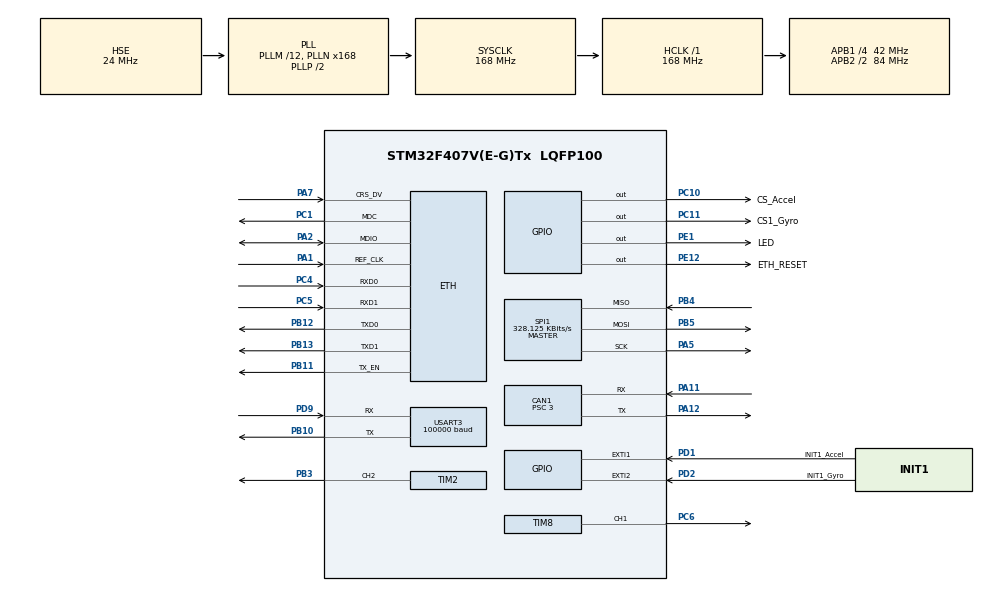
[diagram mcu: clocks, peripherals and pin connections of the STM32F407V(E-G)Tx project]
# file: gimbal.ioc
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CAN1.BS1=CAN_BS1_10TQ
CAN1.BS2=CAN_BS2_3TQ
CAN1.CalculateBaudRate=1000000
CAN1.CalculateTimeBit=1000
CAN1.CalculateTimeQuantum=71.42857142857143
CAN1.Prescaler=3
Dma.Request0=SPI1_RX
Dma.Request1=SPI1_TX
Dma.Request2=USART3_RX
Dma.SPI1_RX.0.Direction=DMA_PERIPH_TO_MEMORY
Dma.SPI1_RX.0.FIFOMode=DMA_FIFOMODE_DISABLE
Dma.SPI1_RX.0.Instance=DMA2_Stream0
Dma.SPI1_RX.0.MemDataAlignment=DMA_MDATAALIGN_BYTE
Dma.SPI1_RX.0.MemInc=DMA_MINC_ENABLE
Dma.SPI1_RX.0.Mode=DMA_NORMAL
Dma.SPI1_RX.0.PeriphDataAlignment=DMA_PDATAALIGN_BYTE
Dma.SPI1_RX.0.PeriphInc=DMA_PINC_DISABLE
Dma.SPI1_RX.0.Priority=DMA_PRIORITY_VERY_HIGH
Dma.SPI1_TX.1.Direction=DMA_MEMORY_TO_PERIPH
Dma.SPI1_TX.1.FIFOMode=DMA_FIFOMODE_DISABLE
Dma.SPI1_TX.1.Instance=DMA2_Stream3
Dma.SPI1_TX.1.MemDataAlignment=DMA_MDATAALIGN_BYTE
Dma.SPI1_TX.1.MemInc=DMA_MINC_ENABLE
Dma.SPI1_TX.1.Mode=DMA_NORMAL
Dma.SPI1_TX.1.PeriphDataAlignment=DMA_PDATAALIGN_BYTE
Dma.SPI1_TX.1.PeriphInc=DMA_PINC_DISABLE
Dma.SPI1_TX.1.Priority=DMA_PRIORITY_HIGH
Dma.USART3_RX.2.Direction=DMA_PERIPH_TO_MEMORY
Dma.USART3_RX.2.FIFOMode=DMA_FIFOMODE_DISABLE
Dma.USART3_RX.2.Instance=DMA1_Stream1
Dma.USART3_RX.2.MemDataAlignment=DMA_MDATAALIGN_BYTE
Dma.USART3_RX.2.MemInc=DMA_MINC_ENABLE
Dma.USART3_RX.2.Mode=DMA_NORMAL
Dma.USART3_RX.2.PeriphDataAlignment=DMA_PDATAALIGN_BYTE
Dma.USART3_RX.2.PeriphInc=DMA_PINC_DISABLE
Dma.USART3_RX.2.Priority=DMA_PRIORITY_HIGH
ETH.MediaInterface=ETH_MEDIA_INTERFACE_RMII
ETH.RxMode=ETH_RXINTERRUPT_MODE
FREERTOS.INCLUDE_uxTaskGetStackHighWaterMark=1
FREERTOS.INCLUDE_vTaskDelayUntil=1
FREERTOS.Tasks01=defaultTask,0,128,StartDefaultTask,As weak,NULL,Dynamic,NULL,NULL
FREERTOS.configENABLE_FPU=1
FREERTOS.configTOTAL_HEAP_SIZE=30720
FREERTOS.configUSE_NEWLIB_REENTRANT=1
LWIP.GATEWAY_ADDRESS=192.168.001.001
LWIP.IP_ADDRESS=192.168.001.010
LWIP.LWIP_DHCP=0
LWIP.NETMASK_ADDRESS=255.255.255.000
LWIP.Version=v2.1.2_Cube
Mcu.Family=STM32F4
Mcu.Name=STM32F407V(E-G)Tx
Mcu.Package=LQFP100
NVIC.CAN1_RX0_IRQn=true\:5\:0\:false\:false\:true\:true\:true\:true\:true
NVIC.DMA1_Stream1_IRQn=true\:5\:0\:false\:false\:true\:true\:false\:true\:true
NVIC.DMA2_Stream0_IRQn=true\:5\:0\:false\:false\:true\:true\:false\:true\:true
NVIC.DMA2_Stream3_IRQn=true\:5\:0\:false\:false\:true\:true\:false\:true\:true
NVIC.ETH_IRQn=true\:5\:0\:false\:false\:true\:true\:false\:true\:true
NVIC.PriorityGroup=NVIC_PRIORITYGROUP_4
NVIC.TIM1_UP_TIM10_IRQn=true\:0\:0\:false\:false\:true\:false\:false\:true\:true
NVIC.TIM2_IRQn=true\:5\:0\:false\:false\:true\:true\:true\:true\:true
NVIC.TIM3_IRQn=true\:5\:0\:false\:false\:true\:true\:true\:true\:true
NVIC.TimeBase=TIM1_UP_TIM10_IRQn
NVIC.TimeBaseIP=TIM1
NVIC.USART3_IRQn=true\:5\:0\:false\:false\:true\:true\:true\:true\:true
PA1.Mode=RMII
PA1.Signal=ETH_REF_CLK
PA11.Mode=CAN_Activate
PA11.Signal=CAN1_RX
PA12.Mode=CAN_Activate
PA12.Signal=CAN1_TX
PA13.Mode=Serial_Wire
PA13.Signal=SYS_JTMS-SWDIO
PA14.Mode=Serial_Wire
PA14.Signal=SYS_JTCK-SWCLK
PA2.Mode=RMII
PA2.Signal=ETH_MDIO
PA5.Mode=Full_Duplex_Master
PA5.Signal=SPI1_SCK
PA7.Mode=RMII
PA7.Signal=ETH_CRS_DV
PB10.Mode=Asynchronous
PB10.Signal=USART3_TX
PB11.Mode=RMII
PB11.Signal=ETH_TX_EN
PB12.Mode=RMII
PB12.Signal=ETH_TXD0
PB13.Mode=RMII
PB13.Signal=ETH_TXD1
PB3.Signal=S_TIM2_CH2
PB4.Mode=Full_Duplex_Master
PB4.Signal=SPI1_MISO
PB5.Mode=Full_Duplex_Master
PB5.Signal=SPI1_MOSI
PC1.Mode=RMII
PC1.Signal=ETH_MDC
PC10.GPIO_Label=CS_Accel
PC10.GPIO_PuPd=GPIO_PULLUP
PC10.GPIO_Speed=GPIO_SPEED_FREQ_HIGH
PC10.PinState=GPIO_PIN_SET
PC10.Signal=GPIO_Output
PC11.GPIO_Label=CS1_Gyro
PC11.GPIO_PuPd=GPIO_PULLUP
PC11.GPIO_Speed=GPIO_SPEED_FREQ_HIGH
PC11.Signal=GPIO_Output
PC14-OSC32_IN.Mode=LSE-External-Oscillator
PC14-OSC32_IN.Signal=RCC_OSC32_IN
PC15-OSC32_OUT.Mode=LSE-External-Oscillator
PC15-OSC32_OUT.Signal=RCC_OSC32_OUT
PC4.Mode=RMII
PC4.Signal=ETH_RXD0
PC5.Mode=RMII
PC5.Signal=ETH_RXD1
PC6.Signal=S_TIM8_CH1
PD1.GPIO_Label=INIT1_Accel
PD1.GPIO_PuPd=GPIO_PULLUP
PD1.Signal=GPXTI1
PD2.GPIO_Label=INIT1_Gyro
PD2.GPIO_PuPd=GPIO_PULLUP
PD2.Signal=GPXTI2
PD9.Mode=Asynchronous
PD9.Signal=USART3_RX
PE1.GPIO_Label=LED
PE1.Signal=GPIO_Output
PE12.GPIO_Label=ETH_RESET
PE12.GPIO_Speed=GPIO_SPEED_FREQ_VERY_HIGH
PE12.Signal=GPIO_Output
PH0-OSC_IN.Mode=HSE-External-Oscillator
PH0-OSC_IN.Signal=RCC_OSC_IN
PH1-OSC_OUT.Mode=HSE-External-Oscillator
PH1-OSC_OUT.Signal=RCC_OSC_OUT
ProjectManager.HeapSize=0x7000
ProjectManager.StackSize=0x8000
ProjectManager.TargetToolchain=STM32CubeIDE
RCC.48MHZClocksFreq_Value=84000000
RCC.AHBFreq_Value=168000000
RCC.APB1CLKDivider=RCC_HCLK_DIV4
RCC.APB1Freq_Value=42000000
RCC.APB1TimFreq_Value=84000000
RCC.APB2CLKDivider=RCC_HCLK_DIV2
RCC.APB2Freq_Value=84000000
RCC.APB2TimFreq_Value=168000000
RCC.CortexFreq_Value=168000000
RCC.HCLKFreq_Value=168000000
RCC.HSE_VALUE=24000000
RCC.HSI_VALUE=16000000
RCC.PLLM=12
RCC.PLLN=168
RCC.PLLSourceVirtual=RCC_PLLSOURCE_HSE
RCC.SYSCLKFreq_VALUE=168000000
RCC.SYSCLKSource=RCC_SYSCLKSOURCE_PLLCLK
RCC.VCOOutputFreq_Value=336000000
SH.S_TIM2_CH2.0=TIM2_CH2,PWM Generation2 CH2
SH.S_TIM8_CH1.0=TIM8_CH1,PWM Generation1 CH1
SPI1.BaudRatePrescaler=SPI_BAUDRATEPRESCALER_256
SPI1.CLKPhase=SPI_PHASE_2EDGE
SPI1.CLKPolarity=SPI_POLARITY_HIGH
SPI1.CalculateBaudRate=328.125 KBits/s
SPI1.Direction=SPI_DIRECTION_2LINES
SPI1.Mode=SPI_MODE_MASTER
SPI1.VirtualType=VM_MASTER
TIM2.AutoReloadPreload=TIM_AUTORELOAD_PRELOAD_DISABLE
TIM2.Channel-PWM\ Generation2\ CH2=TIM_CHANNEL_2
TIM2.Period=2000-1
TIM2.Prescaler=84-1
TIM3.Period=16799
TIM8.Channel-PWM\ Generation1\ CH1=TIM_CHANNEL_1
TIM8.Period=2000-1
TIM8.Prescaler=84-1
USART3.BaudRate=100000
USART3.Parity=PARITY_EVEN
USART3.VirtualMode=VM_ASYNC
VP_FREERTOS_VS_CMSIS_V1.Mode=CMSIS_V1
VP_LWIP_VS_Enabled.Mode=Enabled
VP_SYS_VS_tim1.Mode=TIM1
VP_TIM2_VS_ClockSourceINT.Mode=Internal
VP_TIM3_VS_ClockSourceINT.Mode=Internal
VP_TIM8_VS_ClockSourceINT.Mode=Internal
board=custom

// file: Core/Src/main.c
/* USER CODE BEGIN Header */
/**
  ******************************************************************************
  * @file           : main.c
  * @brief          : Main program body
  ******************************************************************************
  * @attention
  *
  * <h2><center>&copy; Copyright (c) 2025 STMicroelectronics.
  * All rights reserved.</center></h2>
  *
  * This software component is licensed by ST under Ultimate Liberty license
  * SLA0044, the "License"; You may not use this file except in compliance with
  * the License. You may obtain a copy of the License at:
  *                             www.st.com/SLA0044
  *
  ******************************************************************************
  */
/* USER CODE END Header */
#include "main.h"
#include "cmsis_os.h"
#include "can.h"
#include "dma.h"
#include "lwip.h"
#include "spi.h"
#include "tim.h"
#include "usart.h"
#include "gpio.h"

/* USER CODE BEGIN Includes */
#include "stdio.h"
#include "rm_module.h"
#include "robot.h"
#include "hal_can.h"
//#include "udp_echoserver.h"
/* USER CODE END Includes */

void SystemClock_Config(void);
void MX_FREERTOS_Init(void);

int main(void)
{
  /* USER CODE BEGIN 1 */
    uint8_t err=0;
  /* USER CODE END 1 */

  /* MCU Configuration--------------------------------------------------------*/

  /* Reset of all peripherals, Initializes the Flash interface and the Systick. */
  HAL_Init();

  /* Configure the system clock */
  SystemClock_Config();

  /* Initialize all configured peripherals */
  MX_GPIO_Init();
  MX_DMA_Init();
  MX_CAN1_Init();
  MX_SPI1_Init();
  MX_TIM2_Init();
  MX_TIM3_Init();
  MX_TIM8_Init();
  MX_USART3_UART_Init();
  /* USER CODE BEGIN 2 */
    dwt_init(168);
    CAN_service_init();
    sbus_rc_init();
    err=BMI088_init(&hspi1);
    while (err==0xFF){
        MX_SPI1_Init();
        err=BMI088_init(&hspi1);
    }
    HAL_TIM_Base_Start_IT(&htim2);
    robot_init();
    HAL_TIM_Base_Start_IT(&htim3);
  /* USER CODE END 2 */

  /* Call init function for freertos objects (in freertos.c) */
  MX_FREERTOS_Init();
  /* Start scheduler */
  osKernelStart();

  /* We should never get here as control is now taken by the scheduler */
  /* Infinite loop */
  while (1)
  {

  }
}

void SystemClock_Config(void)
{
  RCC_OscInitTypeDef RCC_OscInitStruct = {0};
  RCC_ClkInitTypeDef RCC_ClkInitStruct = {0};

  /** Configure the main internal regulator output voltage
  */
  __HAL_RCC_PWR_CLK_ENABLE();
  __HAL_PWR_VOLTAGESCALING_CONFIG(PWR_REGULATOR_VOLTAGE_SCALE1);
  /** Initializes the RCC Oscillators according to the specified parameters
  * in the RCC_OscInitTypeDef structure.
  */
  RCC_OscInitStruct.OscillatorType = RCC_OSCILLATORTYPE_HSE;
  RCC_OscInitStruct.HSEState = RCC_HSE_ON;
  RCC_OscInitStruct.PLL.PLLState = RCC_PLL_ON;
  RCC_OscInitStruct.PLL.PLLSource = RCC_PLLSOURCE_HSE;
  RCC_OscInitStruct.PLL.PLLM = 12;
  RCC_OscInitStruct.PLL.PLLN = 168;
  RCC_OscInitStruct.PLL.PLLP = RCC_PLLP_DIV2;
  RCC_OscInitStruct.PLL.PLLQ = 4;
  if (HAL_RCC_OscConfig(&RCC_OscInitStruct) != HAL_OK)
  {
    Error_Handler();
  }
  /** Initializes the CPU, AHB and APB buses clocks
  */
  RCC_ClkInitStruct.ClockType = RCC_CLOCKTYPE_HCLK|RCC_CLOCKTYPE_SYSCLK
                              |RCC_CLOCKTYPE_PCLK1|RCC_CLOCKTYPE_PCLK2;
  RCC_ClkInitStruct.SYSCLKSource = RCC_SYSCLKSOURCE_PLLCLK;
  RCC_ClkInitStruct.AHBCLKDivider = RCC_SYSCLK_DIV1;
  RCC_ClkInitStruct.APB1CLKDivider = RCC_HCLK_DIV4;
  RCC_ClkInitStruct.APB2CLKDivider = RCC_HCLK_DIV2;

  if (HAL_RCC_ClockConfig(&RCC_ClkInitStruct, FLASH_LATENCY_5) != HAL_OK)
  {
    Error_Handler();
  }
}

 /**
  * @brief  Period elapsed callback in non blocking mode
  * @note   This function is called  when TIM1 interrupt took place, inside
  * HAL_TIM_IRQHandler(). It makes a direct call to HAL_IncTick() to increment
  * a global variable "uwTick" used as application time base.
  * @param  htim : TIM handle
  * @retval None
  */
void HAL_TIM_PeriodElapsedCallback(TIM_HandleTypeDef *htim)
{
  if (htim->Instance == TIM1) {
    HAL_IncTick();
  }
}

void Error_Handler(void)
{
  __disable_irq();
  while (1)
  {
  }
}

/************************ (C) COPYRIGHT STMicroelectronics *****END OF FILE****/

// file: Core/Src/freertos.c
/* USER CODE BEGIN Header */
/**
  ******************************************************************************
  * File Name          : freertos.c
  * Description        : Code for freertos applications
  ******************************************************************************
  * @attention
  *
  * <h2><center>&copy; Copyright (c) 2025 STMicroelectronics.
  * All rights reserved.</center></h2>
  *
  * This software component is licensed by ST under Ultimate Liberty license
  * SLA0044, the "License"; You may not use this file except in compliance with
  * the License. You may obtain a copy of the License at:
  *                             www.st.com/SLA0044
  *
  ******************************************************************************
  */
/* USER CODE END Header */

#include "FreeRTOS.h"
#include "task.h"
#include "main.h"
#include "cmsis_os.h"

osThreadId defaultTaskHandle;

void StartDefaultTask(void const * argument);

extern void MX_LWIP_Init(void);
void MX_FREERTOS_Init(void); /* (MISRA C 2004 rule 8.1) */

/* GetIdleTaskMemory prototype (linked to static allocation support) */
void vApplicationGetIdleTaskMemory( StaticTask_t **ppxIdleTaskTCBBuffer, StackType_t **ppxIdleTaskStackBuffer, uint32_t *pulIdleTaskStackSize );

/* USER CODE BEGIN GET_IDLE_TASK_MEMORY */
static StaticTask_t xIdleTaskTCBBuffer;
static StackType_t xIdleStack[configMINIMAL_STACK_SIZE];

void vApplicationGetIdleTaskMemory( StaticTask_t **ppxIdleTaskTCBBuffer, StackType_t **ppxIdleTaskStackBuffer, uint32_t *pulIdleTaskStackSize )
{
  *ppxIdleTaskTCBBuffer = &xIdleTaskTCBBuffer;
  *ppxIdleTaskStackBuffer = &xIdleStack[0];
  *pulIdleTaskStackSize = configMINIMAL_STACK_SIZE;
  /* place for user code */
}
/* USER CODE END GET_IDLE_TASK_MEMORY */

void MX_FREERTOS_Init(void) {

  /* Create the thread(s) */
  /* definition and creation of defaultTask */
  osThreadDef(defaultTask, StartDefaultTask, osPriorityNormal, 0, 128);
  defaultTaskHandle = osThreadCreate(osThread(defaultTask), NULL);

}

__weak void StartDefaultTask(void const * argument)
{
  /* init code for LWIP */
  MX_LWIP_Init();
  /* USER CODE BEGIN StartDefaultTask */
  /* Infinite loop */
  for(;;)
  {
      HAL_GPIO_TogglePin(GPIOE,LED_Pin);
      osDelay(1000);
  }
  /* USER CODE END StartDefaultTask */
}

/************************ (C) COPYRIGHT STMicroelectronics *****END OF FILE****/
